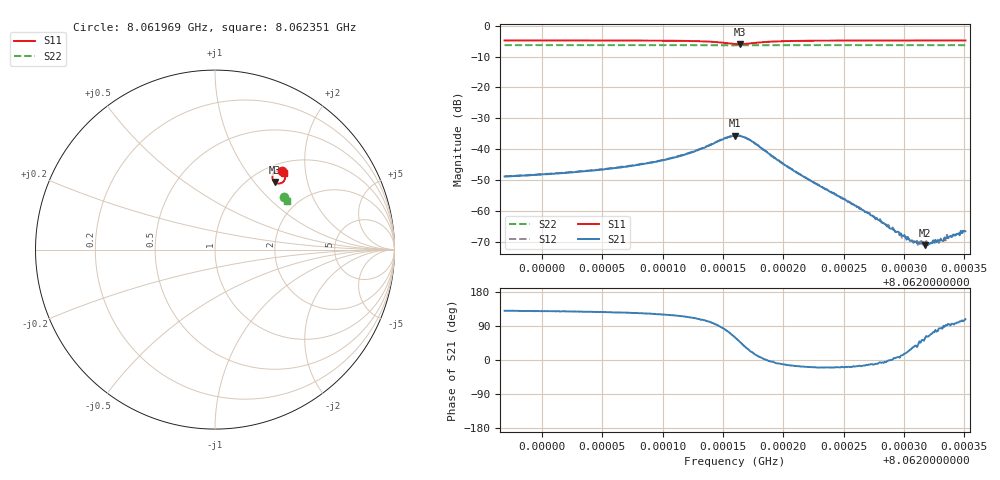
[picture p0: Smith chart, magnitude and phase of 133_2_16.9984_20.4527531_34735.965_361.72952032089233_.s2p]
#  HZ  S  RI  R  50.00
! Rohde & Schwarz Vector Network Analyzer
! Rohde-Schwarz,ZNB20-2Port,1311601062101988,3.16
! Created: UTC 3/20/2024, 10:58:01 PM
! freq[Hz]  re:S11  im:S11  re:S21  im:S21  re:S12  im:S12  re:S22  im:S22
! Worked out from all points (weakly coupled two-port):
!   401 points, 8.061969 GHz to 8.062351 GHz, reference 50 ohm
!   highest |S21| = -35.63 dB at 8.06216 GHz (marker M1); lowest = -71.1 dB at 8.0623176 GHz (marker M2)
!   lowest |S11| = -6.0 dB at 8.0621638 GHz (marker M3), VSWR 3.02, Z = 63.5 + j64 ohm
!   |S11| at or under -10 dB: nowhere
!   |S22| runs from -6.4 to -6.3 dB; largest |S21 - S12| = 0.0012
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8.06196903e9  0.3744 0.4373  -0.00232 0.00277  -0.00218 0.00297  0.3865 0.2907
8.06203301e9  0.3802 0.4314  -0.00266 0.00346  -0.00251 0.00367  0.3889 0.2875
8.06206929e9  0.3842 0.4263  -0.00298 0.00428  -0.00276 0.00447  0.39 0.2857
8.06209699e9  0.3881 0.4196  -0.00328 0.0055  -0.00301 0.00576  0.3911 0.2839
8.06212468e9  0.3914 0.4055  -0.00327 0.00832  -0.00284 0.00862  0.3917 0.282
8.06215237e9  0.3694 0.371  0.00282 0.0148  0.00384 0.0149  0.391 0.2796
8.06216001e9  0.3445 0.3698  0.00831 0.0143  0.00928 0.0138  0.3903 0.2795
8.06216383e9  0.3317 0.3769  0.0109 0.0123  0.0118 0.0117  0.39 0.28
8.06217338e9  0.3196 0.4074  0.0127 0.0051  0.0131 0.00437  0.3903 0.281
8.06220012e9  0.3489 0.4392  0.00564 -0.00115  0.00561 -0.00151  0.3929 0.2807
8.06222399e9  0.3631 0.4391  0.00282 -0.000962  0.00278 -0.0012  0.3943 0.2794
8.06226027e9  0.373 0.4358  0.00117 -0.000348  0.00112 -0.000426  0.3957 0.2775
8.06227937e9  0.3762 0.4341  0.0007 -8.78e-05  0.000699 -0.000134  0.3965 0.2762
8.06228797e9  0.3772 0.4334  0.000529 -8.5e-06  0.000557 -5.04e-05  0.3967 0.2759
8.06229752e9  0.3788 0.4326  0.000425 8.73e-05  0.000415 5.86e-05  0.397 0.2754
8.06230611e9  0.3797 0.4318  0.000292 0.000163  0.000302 0.000125  0.3973 0.2748
8.06230993e9  0.3801 0.4317  0.000249 0.000196  0.000251 0.000146  0.3975 0.2747
8.06231757e9  0.3809 0.4311  0.000146 0.000237  0.000183 0.000223  0.3977 0.2745
8.06231948e9  0.3811 0.4308  0.000134 0.000248  0.000168 0.000251  0.3978 0.2741
8.06232712e9  0.3819 0.4304  8.23e-05 0.000302  9.08e-05 0.000334  0.3981 0.274
8.06233094e9  0.3823 0.4302  3.41e-05 0.000341  7.84e-05 0.000362  0.3981 0.2736
8.06235099e9  0.3842 0.4289  -0.000143 0.000448  -7.91e-05 0.000469  0.3988 0.2726
